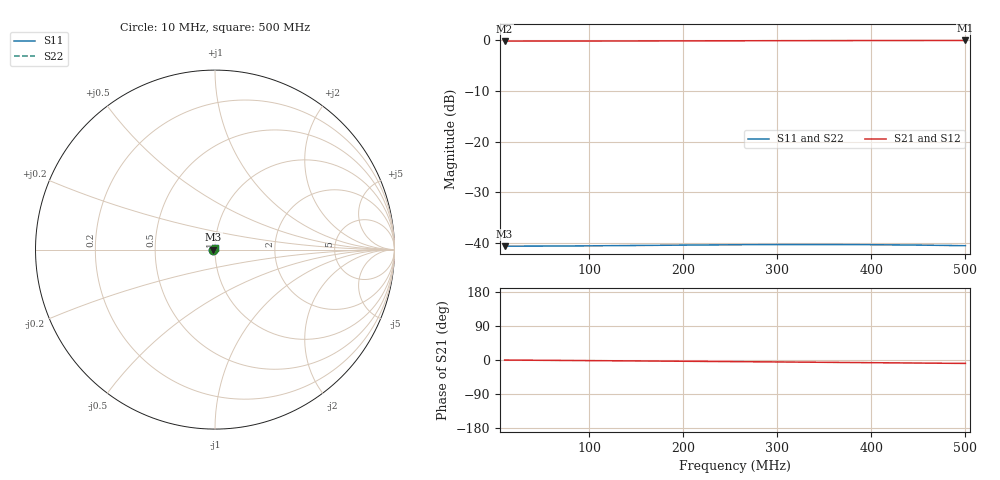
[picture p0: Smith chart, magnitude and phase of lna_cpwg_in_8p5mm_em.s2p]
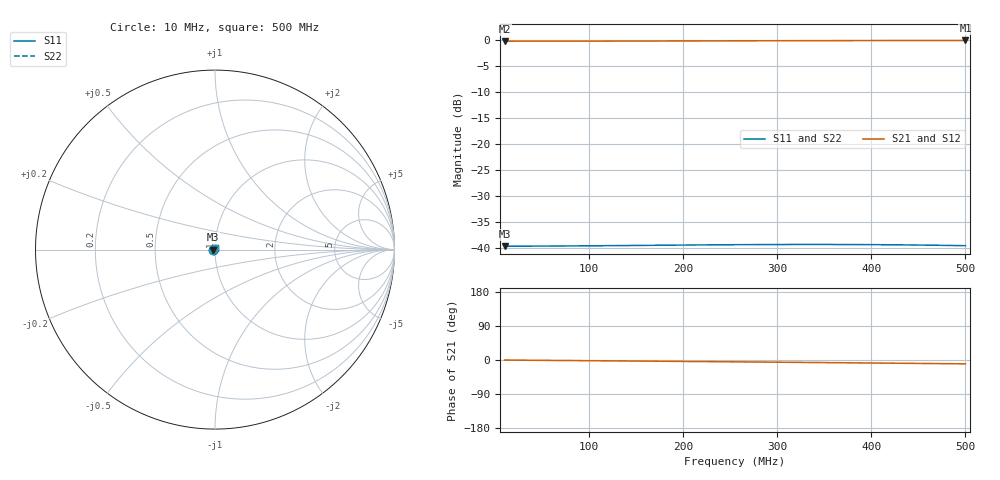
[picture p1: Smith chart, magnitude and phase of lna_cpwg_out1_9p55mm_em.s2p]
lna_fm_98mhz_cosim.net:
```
# Qucs Netlist for 98 MHz Common Base LNA with 3D EM Co-Simulation (Option A)
# Substrate definition for LionCircuits 1.6mm FR-4, 1oz Cu
SUBST:Subst1 er=4.5 h=1.6mm t=35um tand=0.02 rho=1.72e-8 D=1.5e-6

# RF Ports (50 Ohm)
Pac:P1 rf_in gnd Num=1 Z=50 Ohm f=98 MHz
Pac:P2 rf_out gnd Num=2 Z=50 Ohm f=98 MHz

# Input CPWG trace (8.5 mm) modeled via openEMS 3D FDTD Touchstone S2P
SPfile:TL_IN rf_in in gnd File="lna_cpwg_in_8p5mm_em.s2p" Data="rectangular" Interpolator="linear" duringDC="open"

# Input BPF & Matching Network: Shunt LC Tank (L1 || C2 to GND) + Series C1 to Emitter
L:L1 in gnd L=22n
C:C2 in gnd C=27p
C:C1 in emitter C=91p

# Transistor Q1 MMBT5179 (Base, Collector, Emitter, Substrate)
BJT:Q1 base collector emitter gnd Is=1e-14 Nf=1 Nr=1 Ikf=0.1 Ikr=0.01 Vaf=50 Var=10 Ise=1e-14 Ne=1.5 Isc=0 Nc=2 Bf=90 Br=2 Rbm=0 Irb=0 Cje=1.2e-12 Vje=0.7 Mje=0.33 Cjc=1e-12 Vjc=0.5 Mjc=0.33 Xcjc=1 Cjs=0 Vjs=0.75 Mjs=0 Fc=0.5 Vtf=0 Tf=0.09e-9 Xtf=0 Itf=0 Tr=10e-9 Rb=10 Re=1 Rc=5 Type="npn"

# Emitter Bias & RF Choke
L:L2 emitter n_l2_2 L=470n
R:R3 n_l2_2 gnd R=200

# Base Bias & RF Grounding Bypass
Vdc:VCC vcc gnd U=5V
R:R1 vcc base R=3.9k
R:R2 base gnd R=3.3k
C:C3 base gnd C=100p
C:C4 base gnd C=1n
C:C5 base gnd C=100n

# VCC Power Decoupling
C:C11 vcc gnd C=10u
C:C12 vcc gnd C=100n

# Collector CPWG interconnect trace to tuned tank & C7 (Length = 6.6 mm)
CLIN:TL_COL collector n_c7_in Subst="Subst1" W=1.0mm S=0.35mm L=6.6mm Backside="Metal"

# Collector Tuned Tank (BPF Image Filter)
L:L3 n_c7_in vcc L=150n
C:C6 n_c7_in gnd C=6.8p

# Output Series L-Match & DC Block Capacitor
C:C7 n_c7_in n_c7_out C=10p

# Output CPWG Segment 1 (9.55 mm) modeled via openEMS 3D FDTD Touchstone S2P
SPfile:TL_OUT1 n_c7_out n_bt_tap gnd File="lna_cpwg_out1_9p55mm_em.s2p" Data="rectangular" Interpolator="linear" duringDC="open"

# Bias-Tee Choke & Bypass at X=36.0 mm
L:L4 n_bt_tap bt_dc L=1u
C:C9 bt_dc gnd C=100p
C:C10 bt_dc gnd C=10n
R:Rbt bt_dc gnd R=100k

# Output CPWG Segment 2 (10.0 mm) modeled via openEMS 3D FDTD Touchstone S2P
SPfile:TL_OUT2 n_bt_tap rf_out gnd File="lna_cpwg_out2_10mm_em.s2p" Data="rectangular" Interpolator="linear" duringDC="open"

# Simulation Controls
.DC:DC1
.SP:SP1 Type=lin Start=70 MHz Stop=130 MHz Points=61
Eqn:Eqn1 S11_dB="dB(S[1,1])" S21_dB="dB(S[2,1])" S12_dB="dB(S[1,2])" S22_dB="dB(S[2,2])" Export="yes"
```
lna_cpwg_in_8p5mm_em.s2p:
! Created with skrf 2.1.0 (http://scikit-rf.org).
# Hz S RI R 50.0
!freq ReS11 ImS11 ReS21 ImS21 ReS12 ImS12 ReS22 ImS22
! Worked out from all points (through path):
!   101 points, 10 MHz to 500 MHz, reference 50 ohm
!   highest |S21| = -0.02 dB at 500 MHz (marker M1); lowest = -0.1 dB at 10 MHz (marker M2)
!   group delay of S21, straight-line fit = 50.5 ps
!   lowest |S11| = -40.6 dB at 10 MHz (marker M3), VSWR 1.02, Z = 49.1 + j0.0412 ohm
!   |S11| at or under -10 dB: start of sweep to end of sweep
!   |S22| runs from -40.6 to -40.3 dB; largest |S21 - S12| = 4.5e-16
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1e7  -0.00929 0.00042  0.9838 -0.00273  0.9838 -0.00273  -0.00929 0.00042
4.92e7  -0.00909 0.00204  0.9841 -0.0135  0.9841 -0.0135  -0.00909 0.00204
8.84e7  -0.00865 0.00357  0.9846 -0.0244  0.9846 -0.0244  -0.00865 0.00357
1.717e8  -0.00711 0.00627  0.9864 -0.0485  0.9864 -0.0485  -0.00711 0.00627
2.55e8  -0.00522 0.00805  0.988 -0.0743  0.988 -0.0743  -0.00522 0.00805
3.236e8  -0.00373 0.0089  0.9887 -0.0967  0.9887 -0.0967  -0.00373 0.0089
3.824e8  -0.00262 0.00926  0.9885 -0.1164  0.9885 -0.1164  -0.00262 0.00926
4.118e8  -0.00214 0.00935  0.9881 -0.1264  0.9881 -0.1264  -0.00214 0.00935
4.412e8  -0.00171 0.00939  0.9875 -0.1364  0.9875 -0.1364  -0.00171 0.00939
4.706e8  -0.00134 0.00938  0.9867 -0.1465  0.9867 -0.1465  -0.00134 0.00938
5e8  -0.00101 0.00934  0.9857 -0.1566  0.9857 -0.1566  -0.00101 0.00934
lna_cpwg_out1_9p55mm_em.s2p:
! Created with skrf 2.1.0 (http://scikit-rf.org).
# Hz S RI R 50.0
!freq ReS11 ImS11 ReS21 ImS21 ReS12 ImS12 ReS22 ImS22
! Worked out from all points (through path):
!   101 points, 10 MHz to 500 MHz, reference 50 ohm
!   highest |S21| = -0.02 dB at 500 MHz (marker M1); lowest = -0.2 dB at 10 MHz (marker M2)
!   group delay of S21, straight-line fit = 56.7 ps
!   lowest |S11| = -39.6 dB at 10 MHz (marker M3), VSWR 1.02, Z = 49 + j0.0465 ohm
!   |S11| at or under -10 dB: start of sweep to end of sweep
!   |S22| runs from -39.6 to -39.3 dB; largest |S21 - S12| = 3.4e-16
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1e7  -0.0104 0.000475  0.9819 -0.00306  0.9819 -0.00306  -0.0104 0.000475
4.92e7  -0.0102 0.00231  0.9821 -0.0151  0.9821 -0.0151  -0.0102 0.00231
8.84e7  -0.00969 0.00404  0.9827 -0.0273  0.9827 -0.0273  -0.00969 0.00404
1.717e8  -0.00794 0.00708  0.9845 -0.0545  0.9845 -0.0545  -0.00794 0.00708
2.55e8  -0.00578 0.00909  0.9862 -0.0834  0.9862 -0.0834  -0.00578 0.00909
3.236e8  -0.00407 0.01  0.9866 -0.1085  0.9866 -0.1085  -0.00407 0.01
3.824e8  -0.00279 0.0104  0.9861 -0.1306  0.9861 -0.1306  -0.00279 0.0104
4.118e8  -0.00224 0.0105  0.9855 -0.1418  0.9855 -0.1418  -0.00224 0.0105
4.412e8  -0.00174 0.0106  0.9847 -0.1531  0.9847 -0.1531  -0.00174 0.0106
4.706e8  -0.00131 0.0106  0.9836 -0.1644  0.9836 -0.1644  -0.00131 0.0106
5e8  -0.000934 0.0105  0.9822 -0.1757  0.9822 -0.1757  -0.000934 0.0105
